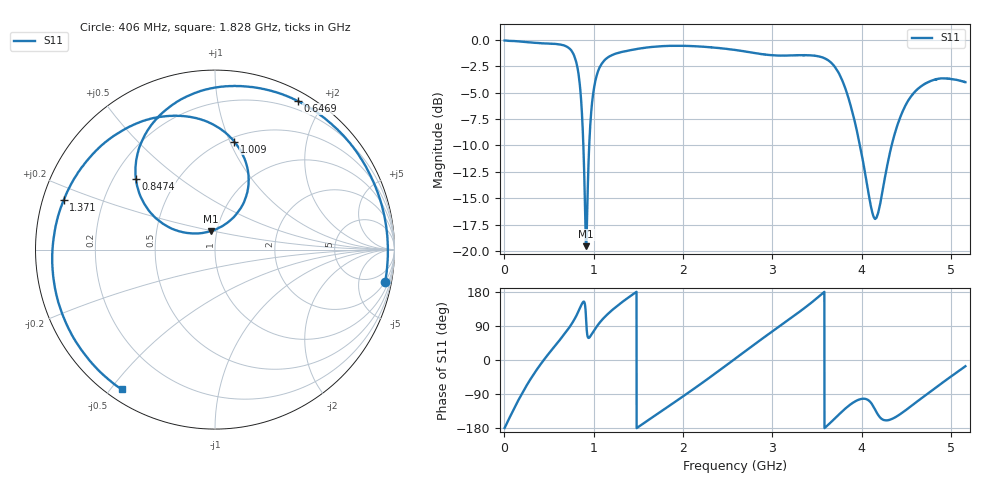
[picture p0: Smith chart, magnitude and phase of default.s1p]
! jPCBSim: Simulation Results For /home/radioactive/projects/github/jPCBSim/examples//default Project.
! Frequency  S11
# MHz  S  RI R  50
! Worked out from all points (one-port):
!   4095 points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, 1.261 MHz to 5.164 GHz, reference 50 ohm
!   lowest |S11| = -19.5 dB at 915.5 MHz (marker M1), VSWR 1.24, Z = 46.9 + j9.76 ohm
!   |S11| at or under -10 dB: 883.5 MHz to 949 MHz (65.53 MHz wide, 7.15 % of centre); 3.983 GHz to 4.337 GHz (354.7 MHz wide, 8.53 % of centre)
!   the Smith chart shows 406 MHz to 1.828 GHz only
!   S11 on the Smith chart (normalised r, x): 406 MHz: 2, -10; 646.9 MHz: 0.11, +1.69; 847.4 MHz: 0.29, +0.35; 1.009 GHz: 0.54, +1.04; 1.371 GHz: 0.06, +0.16; 1.828 GHz: 0.04, -0.53
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1.261  -0.994 -0.011
107.184  -0.611 -0.777
186.626  -0.042 -0.981
301.376  0.665 -0.71
406.038  0.948 -0.182
519.526  0.877 0.388
646.886  0.46 0.828
757.853  -0.111 0.873
847.383  -0.441 0.396
915.476  -0.022 0.103
1008.789  0.107 0.602
1117.234  -0.3 0.74
1292.511  -0.742 0.459
1370.692  -0.843 0.275
1591.365  -0.875 -0.287
1828.43  -0.52 -0.779
1938.136  -0.259 -0.902
2226.902  0.487 -0.791
2582.5  0.895 0.048
2917.922  0.408 0.749
3228.125  -0.342 0.773
3569.852  -0.823 0.042
3740.085  -0.579 -0.399
3873.75  -0.23 -0.439
4154.95  -0.096 -0.106
4519.375  -0.317 -0.404
4820.751  0.168 -0.626
5163.739  0.605 -0.178
